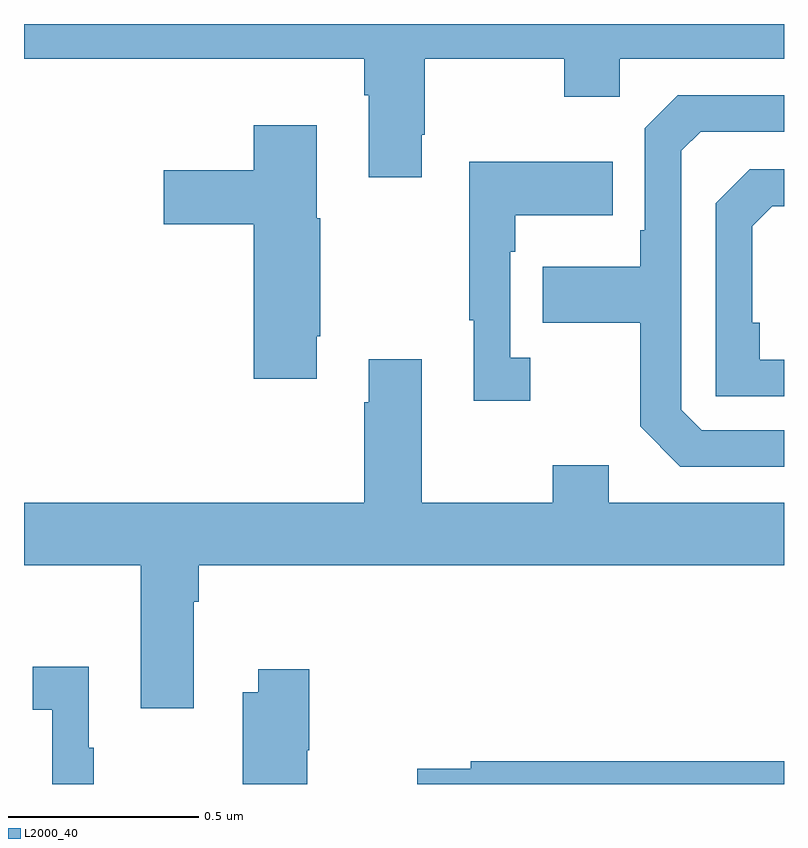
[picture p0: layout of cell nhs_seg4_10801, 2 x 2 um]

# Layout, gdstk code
import gdstk
lib = gdstk.Library(unit=1e-6, precision=1e-09)
def P(c, l, *ps):  # polygons
    for p in ps: c.add(gdstk.Polygon(p, *l))
L2000_40 = (2000, 40)

nhs_seg4_10801 = lib.new_cell('nhs_seg4_10801')
P(nhs_seg4_10801, L2000_40, [(245.047,808.609),(245.055,808.609),(245.055,808.808),(245.422,808.808),(245.422,808.709),(245.568,808.709),(245.568,808.808),(246,808.808),(246,808.9),(244,808.9),(244,808.808),(244.895,808.808),(244.895,808.712),(244.907,808.712),(244.907,808.497),(245.047,808.497)],
  [(246,807.831),(245.784,807.831),(245.73,807.885),(245.73,808.566),(245.781,808.617),(246,808.617),(246,808.713),(245.721,808.713),(245.634,808.626),(245.634,808.357),(245.622,808.357),(245.622,808.261),(245.365,808.261),(245.365,808.114),(245.622,808.114),(245.622,807.841),(245.727,807.735),(246,807.735)],
  [(244.771,808.078),(244.779,808.078),(244.779,808.389),(244.771,808.389),(244.771,808.633),(244.604,808.633),(244.604,808.515),(244.368,808.515),(244.368,808.373),(244.604,808.373),(244.604,807.966),(244.771,807.966)],
  [(245.332,808.022),(245.28,808.022),(245.28,808.301),(245.293,808.301),(245.293,808.397),(245.549,808.397),(245.549,808.537),(245.172,808.537),(245.172,808.121),(245.183,808.121),(245.183,807.909),(245.332,807.909)],
  [(246,808.017),(245.936,808.017),(245.936,808.114),(245.916,808.114),(245.916,808.368),(245.969,808.421),(246,808.421),(246,808.518),(245.91,808.518),(245.82,808.428),(245.82,807.921),(246,807.921)],
  [(244.447,807.38),(244.46,807.38),(244.46,807.476),(246,807.476),(246,807.64),(245.539,807.64),(245.539,807.739),(245.392,807.739),(245.392,807.64),(245.047,807.64),(245.047,808.018),(244.907,808.018),(244.907,807.905),(244.895,807.905),(244.895,807.64),(244,807.64),(244,807.476),(244.307,807.476),(244.307,807.099),(244.447,807.099)],
  [(244.183,806.995),(244.171,806.995),(244.171,807.208),(244.023,807.208),(244.023,807.095),(244.074,807.095),(244.074,806.9),(244.183,806.9)],
  [(244.746,806.989),(244.751,806.989),(244.751,807.202),(244.616,807.202),(244.616,807.142),(244.576,807.142),(244.576,806.9),(244.746,806.9)],
  [(246,806.96),(245.176,806.96),(245.176,806.94),(245.035,806.94),(245.035,806.9),(246,806.9)])

lib.write_gds('nhs_seg4_10801.gds')
